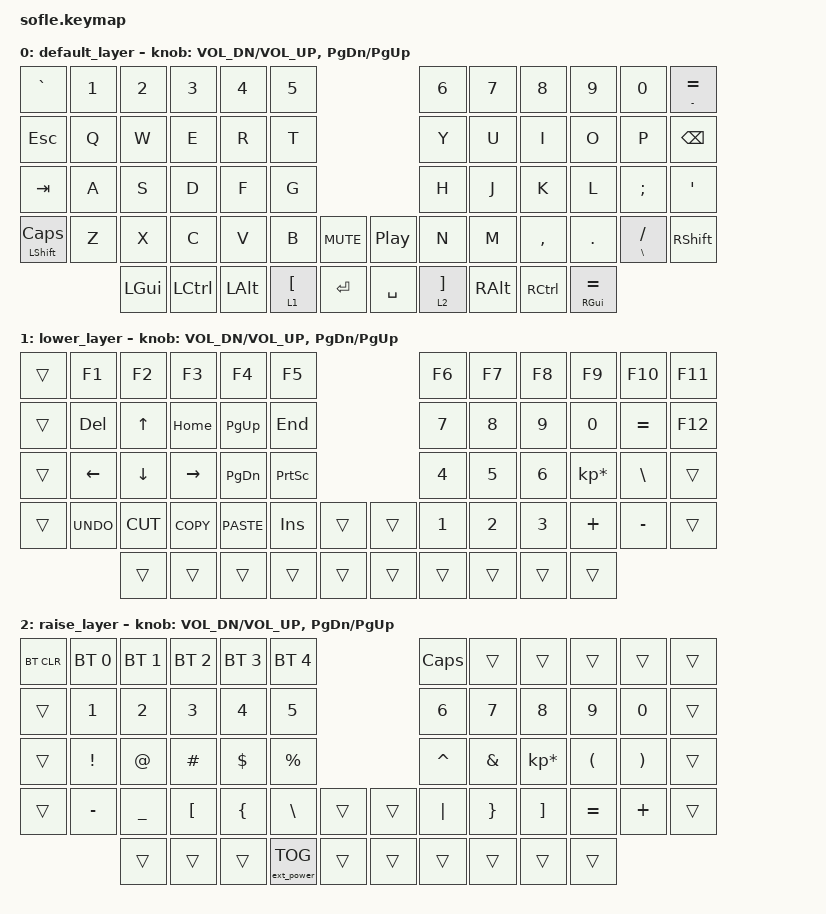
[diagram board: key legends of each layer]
/*
 * Copyright (c) 2020 The ZMK Contributors
 *
 * SPDX-License-Identifier: MIT
 */

#include <behaviors.dtsi>
#include <dt-bindings/zmk/keys.h>
#include <dt-bindings/zmk/bt.h>
#include <dt-bindings/zmk/ext_power.h>

/ {
    keymap {
        compatible = "zmk,keymap";

        default_layer {
// ------------------------------------------------------------------------------------------------------------
// |  `    |  1  |  2  |  3   |  4   |  5   |                   |  6   |  7    |  8    |  9   |   0   |   = -   |
// |  ESC  |  Q  |  W  |  E   |  R   |  T   |                   |  Y   |  U    |  I    |  O   |   P   | BKSPC |
// |  TAB  |  A  |  S  |  D   |  F   |  G   |                   |  H   |  J    |  K    |  L   |   ;   |  '  |
// | Caps/SHIFT |  Z  |  X  |  C   |  V   |  B   |  MUTE  |  | PLAY  |  N   |  M    |  ,    |  .   |   /   | SHIFT |
//               | GUI| LCTRL  | LALT| LWR/[|  SPACE |  |ENTER  | RSE/]|  RALT | RCTRL | RGUI |
            bindings = <
&kp GRAVE     &kp N1 &kp N2    &kp N3    &kp N4         &kp N5                           &kp N6  &kp N7         &kp N8    &kp N9   &kp N0   &mt MINUS EQUAL
&kp ESC       &kp Q  &kp W     &kp E     &kp R          &kp T                            &kp Y   &kp U          &kp I     &kp O    &kp P    &kp BSPC
&kp TAB       &kp A  &kp S     &kp D     &kp F          &kp G                            &kp H   &kp J          &kp K     &kp L    &kp SEMI &kp SQT
&mt LSHFT CLCK     &kp Z  &kp X     &kp C     &kp V          &kp B     &kp C_MUTE  &kp C_PP   &kp N   &kp M     &kp COMMA &kp DOT  &mt BSLH FSLH &kp RSHFT
                     &kp LGUI  &kp LCTRL  &kp LALT &lt 1 LBKT &kp RET  &kp SPACE &lt 2 RBKT &kp RALT &kp RCTRL  &mt RGUI EQUAL
            >;

            sensor-bindings = <&inc_dec_kp C_VOL_DN C_VOL_UP &inc_dec_kp PG_DN PG_UP>;
        };

        lower_layer {
// ------------------------------------------------------------------------------------------------------------
// |       |   F1  |  F2 |  F3  |  F4  |  F5  |                   |  F6  |  F7   |  F8   |  F9  |  F10  |  F11  |
// |       |  DEL  |  ^  | HOME | PGUP |  END |                   |   7  |  8    |  9    |   0  |   =   |  F12  |
// |       |   <-  |  v  |  ->  | PGDN | PSCR |                   |   4  |  5    |  6    |   *  |   /   |       |
// |       |  UNDO | CUT | COPY | PASTE| INS  |      |  |     	  |   1  |  2    |  3    |   +  |   -   |       |
//                 |     |      |      |      |      |  |         |      |       |       |      |
            bindings = <
&trans 	   &kp F1       &kp F2       &kp F3       &kp F4       &kp F5                     &kp F6    &kp F7   &kp F8   &kp F9    	&kp F10   &kp F11         
&trans 	   &kp DEL      &kp UP       &kp HOME     &kp PG_UP    &kp END                    &kp N7    &kp N8   &kp N9   &kp N0    	&kp EQUAL &kp F12
&trans     &kp LEFT     &kp DOWN     &kp RIGHT    &kp PG_DN    &kp PSCRN                  &kp N4    &kp N5   &kp N6   &kp KP_MULTIPLY  	&kp BSLH  &trans
&trans     &kp K_UNDO   &kp K_CUT    &kp K_COPY   &kp K_PASTE  &kp INS    &trans  &trans  &kp N1    &kp N2   &kp N3   &kp PLUS	        &kp MINUS  &trans
                        &trans       &trans       &trans       &trans  	  &trans  &trans  &trans    &trans    &trans  &trans
            >;

            sensor-bindings = <&inc_dec_kp C_VOL_DN C_VOL_UP &inc_dec_kp PG_DN PG_UP>;
        };
        

	raise_layer {
// ------------------------------------------------------------------------------------------------------------
// | BTCLR | BT1 | BT2 |  BT3 |  BT4 |  BT5 |                   | CAPS |       |       |      |       |       |
// |       |   1 |   2 |   3  |   4  |   5  |                   |   6  |   7   |   8   |   9  |    0  |       |
// |       |  !  |  @  |  #   |  $   |  %   |                   |  ^   |  &    |  *    |  (   |   )   |       |
// |       |  -  |  _  |  [   |  {   |  \   |        |  |       |  |   |  }    |  ]    |  =   |   +   |       |
//               |     |      |      |      |        |  |       |      |       |       |      |
            bindings = <
&bt BT_CLR &bt BT_SEL 0 &bt BT_SEL 1 &bt BT_SEL 2 &bt BT_SEL 3 &bt BT_SEL 4      			&kp CLCK  &trans   &trans   	   &trans    &trans    &trans
&trans 	   &kp N1       &kp N2       &kp N3       &kp N4    &kp N5                           		&kp N6    &kp N7   &kp N8          &kp N9    &kp N0    &trans
&trans     &kp EXCL     &kp AT       &kp HASH     &kp DLLR  &kp PRCNT                        		&kp CARET &kp AMPS &kp KP_MULTIPLY &kp LPAR  &kp RPAR  &trans
&trans     &kp MINUS    &kp UNDER    &kp LBKT     &kp LBRC  &kp BSLH  	         &trans  &trans     	&kp PIPE  &kp RBRC &kp RBKT        &kp EQUAL &kp PLUS  &trans
           		&trans       &trans       &trans    &ext_power EP_TOG	 &trans  &trans   	&trans    &trans   &trans          &trans
            >;

            sensor-bindings = <&inc_dec_kp C_VOL_DN C_VOL_UP &inc_dec_kp PG_DN PG_UP>;
        };
    };
};
